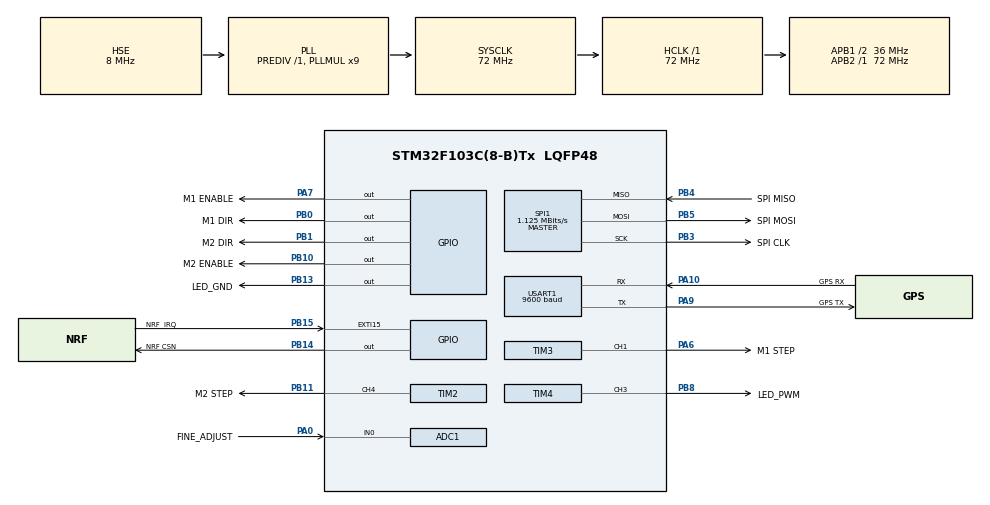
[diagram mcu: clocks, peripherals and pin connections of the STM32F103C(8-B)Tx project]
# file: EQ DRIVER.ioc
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ADC1.Channel-5\#ChannelRegularConversion=ADC_CHANNEL_0
ADC1.NbrOfConversionFlag=1
ADC1.Rank-5\#ChannelRegularConversion=1
ADC1.SamplingTime-5\#ChannelRegularConversion=ADC_SAMPLETIME_1CYCLE_5
ADC1.master=1
Mcu.Family=STM32F1
Mcu.Name=STM32F103C(8-B)Tx
Mcu.Package=LQFP48
NVIC.EXTI15_10_IRQn=true\:0\:0\:false\:false\:true\:true\:true\:true
NVIC.PriorityGroup=NVIC_PRIORITYGROUP_4
NVIC.RCC_IRQn=true\:0\:0\:false\:false\:true\:true\:false\:true
NVIC.TIM1_UP_IRQn=true\:0\:0\:false\:false\:true\:false\:true\:true
NVIC.TIM2_IRQn=true\:0\:0\:false\:false\:true\:true\:true\:true
NVIC.TIM3_IRQn=true\:0\:0\:false\:false\:true\:true\:true\:true
NVIC.TimeBase=TIM1_UP_IRQn
NVIC.TimeBaseIP=TIM1
NVIC.USART1_IRQn=true\:0\:0\:false\:false\:true\:true\:true\:true
PA0-WKUP.GPIO_Label=FINE_ADJUST
PA0-WKUP.Signal=ADCx_IN0
PA10.GPIO_Label=GPS RX
PA10.Mode=Asynchronous
PA10.Signal=USART1_RX
PA13.GPIO_Label=SWDIO
PA13.Mode=Serial_Wire
PA13.Signal=SYS_JTMS-SWDIO
PA14.GPIO_Label=SWCLK
PA14.Mode=Serial_Wire
PA14.Signal=SYS_JTCK-SWCLK
PA6.GPIO_Label=M1 STEP
PA6.Signal=S_TIM3_CH1
PA7.GPIO_Label=M1 ENABLE
PA7.GPIO_PuPd=GPIO_NOPULL
PA7.Signal=GPIO_Output
PA9.GPIO_Label=GPS TX
PA9.Mode=Asynchronous
PA9.Signal=USART1_TX
PB0.GPIO_Label=M1 DIR
PB0.Signal=GPIO_Output
PB1.GPIO_Label=M2 DIR
PB1.Signal=GPIO_Output
PB10.GPIO_Label=M2 ENABLE
PB10.Signal=GPIO_Output
PB11.GPIO_Label=M2 STEP
PB11.Signal=S_TIM2_CH4
PB13.GPIO_Label=LED_GND
PB13.GPIO_ModeDefaultOutputPP=GPIO_MODE_OUTPUT_PP
PB13.GPIO_PuPd=GPIO_PULLDOWN
PB13.Signal=GPIO_Output
PB14.GPIO_Label=NRF CSN
PB14.GPIO_PuPd=GPIO_PULLDOWN
PB14.GPIO_Speed=GPIO_SPEED_FREQ_HIGH
PB14.PinState=GPIO_PIN_SET
PB14.Signal=GPIO_Output
PB15.GPIO_Label=NRF  IRQ
PB15.Signal=GPXTI15
PB3.GPIO_Label=SPI CLK
PB3.Mode=Full_Duplex_Master
PB3.Signal=SPI1_SCK
PB4.GPIO_Label=SPI MISO
PB4.Mode=Full_Duplex_Master
PB4.Signal=SPI1_MISO
PB5.GPIO_Label=SPI MOSI
PB5.Mode=Full_Duplex_Master
PB5.Signal=SPI1_MOSI
PB8.GPIO_Label=LED_PWM
PB8.Signal=S_TIM4_CH3
PD0-OSC_IN.Mode=HSE-External-Oscillator
PD0-OSC_IN.Signal=RCC_OSC_IN
PD1-OSC_OUT.Mode=HSE-External-Oscillator
PD1-OSC_OUT.Signal=RCC_OSC_OUT
ProjectManager.HeapSize=0x200
ProjectManager.StackSize=0x400
ProjectManager.TargetToolchain=STM32CubeIDE
RCC.ADCPresc=RCC_ADCPCLK2_DIV6
RCC.AHBFreq_Value=72000000
RCC.APB1CLKDivider=RCC_HCLK_DIV2
RCC.APB1Freq_Value=36000000
RCC.APB1TimFreq_Value=72000000
RCC.APB2Freq_Value=72000000
RCC.APB2TimFreq_Value=72000000
RCC.HCLKFreq_Value=72000000
RCC.PLLMUL=RCC_PLL_MUL9
RCC.PLLSourceVirtual=RCC_PLLSOURCE_HSE
RCC.RTCClockSelection=RCC_RTCCLKSOURCE_HSE_DIV128
RCC.SYSCLKFreq_VALUE=72000000
RCC.SYSCLKSource=RCC_SYSCLKSOURCE_PLLCLK
RCC.USBFreq_Value=72000000
SH.ADCx_IN0.0=ADC1_IN0,IN0
SH.S_TIM2_CH4.0=TIM2_CH4,PWM Generation4 CH4
SH.S_TIM3_CH1.0=TIM3_CH1,PWM Generation1 CH1
SH.S_TIM4_CH3.0=TIM4_CH3,PWM Generation3 CH3
SPI1.BaudRatePrescaler=SPI_BAUDRATEPRESCALER_64
SPI1.CalculateBaudRate=1.125 MBits/s
SPI1.Direction=SPI_DIRECTION_2LINES
SPI1.FirstBit=SPI_FIRSTBIT_MSB
SPI1.Mode=SPI_MODE_MASTER
SPI1.VirtualType=VM_MASTER
TIM2.Channel-PWM\ Generation4\ CH4=TIM_CHANNEL_4
TIM2.Period=28125 - 1
TIM2.Prescaler=360 - 1
TIM3.Channel-PWM\ Generation1\ CH1=TIM_CHANNEL_1
TIM3.Period=28125 -1
TIM3.Prescaler=360 - 1
TIM4.Channel-PWM\ Generation3\ CH3=TIM_CHANNEL_3
TIM4.Period=4000 - 1
TIM4.Prescaler=36000 - 1
USART1.BaudRate=9600
USART1.VirtualMode=VM_ASYNC
VP_SYS_VS_tim1.Mode=TIM1
VP_TIM2_VS_ClockSourceINT.Mode=Internal
board=custom

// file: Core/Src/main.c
/* USER CODE BEGIN Header */
/**
 ******************************************************************************
 * @file           : main.c
 * @brief          : Main program body
 ******************************************************************************
 * @attention
 *
 * Copyright (c) 2022 STMicroelectronics.
 * All rights reserved.
 *
 * This software is licensed under terms that can be found in the LICENSE file
 * in the root directory of this software component.
 * If no LICENSE file comes with this software, it is provided AS-IS.
 *
 ******************************************************************************
 */
/* USER CODE END Header */
#include "main.h"
#include "adc.h"
#include "spi.h"
#include "tim.h"
#include "usart.h"
#include "gpio.h"

/* USER CODE BEGIN Includes */

#include "variables.h"
#include "steppers.h"
#include "astro_conv.h"
#include "astro_targets.h"
#include "PA6H.h"

/* USER CODE END Includes */

/* USER CODE BEGIN PM */

#define TICKS_NOW HAL_GetTick() /** < Current sys tick value */
#define POSITIVE_MODULUS(value, mod) (((value) < 0) ? ((mod) -1) : ((value) % (mod)))

/* USER CODE END PM */

/* USER CODE BEGIN PV */

/**
 * @brief menu options enum
 */
enum menu_options {
	DEC_ = 0,
	RA,
	hemisphere,
	automatic_mode,
	manual_mode,
	MENU_SIZE, //must be the last value
};

/**
 * @brief Strings to the menu
 */
const char* menu_str[MENU_SIZE] = {
		[DEC_]           = "DEC",
		[RA]             = "R.A",
		[hemisphere]     = "Hemisferio",
		[automatic_mode] = "Modo automatico",
		[manual_mode]    = "Modo manual",
};

uint16_t menu_op_value[MENU_SIZE] = {0};

GNSS_data_t* GNSS;

/* USER CODE END PV */

void SystemClock_Config(void);

/* USER CODE BEGIN 0 */
void HAL_UART_RxCpltCallback(UART_HandleTypeDef* huart) {
	if (huart == &huart1) {
		if (GNSS_UART_CallBack(GNSS)) {
			astro_update_LMST();
		}
	}
}
/* USER CODE END 0 */

int main(void) {

	/* MCU Configuration--------------------------------------------------------*/

	/* Reset of all peripherals, Initializes the Flash interface and the Systick. */
	HAL_Init();

	/* Configure the system clock */
	SystemClock_Config();

	/* USER CODE BEGIN SysInit */
	GNSS = astro_get_gnss_pointer();
	/* USER CODE END SysInit */

	/* Initialize all configured peripherals */
	MX_GPIO_Init();
	MX_TIM2_Init();
	MX_ADC1_Init();
	MX_TIM3_Init();
	MX_USART1_UART_Init();
	MX_SPI1_Init();
	MX_TIM4_Init();
	/* USER CODE BEGIN 2 */

	HAL_Delay(500);
	GNSS_init();
	astro_init();

	led_start_blink();
	led_set_slow_fast_blink();

	bool flag = true;

	astro_release();

	/* USER CODE END 2 */

	/* Infinite loop */
	while (1) {

		/* USER CODE BEGIN 3 */

		astro_update_raw_fine_adjusts();

		if (flag) {
			astro_go_home();
		}

		while (astro_get_gnss_pointer()->is_valid != VALID_DATA) {
		}

		if (flag) {
			astro_update_target(astro_target[JUPITER]);
			astro_goto_target();
			flag = false;
		}

	}
	/* USER CODE END 3 */
}

void SystemClock_Config(void) {
	RCC_OscInitTypeDef RCC_OscInitStruct = {0};
	RCC_ClkInitTypeDef RCC_ClkInitStruct = {0};
	RCC_PeriphCLKInitTypeDef PeriphClkInit = {0};

	/** Initializes the RCC Oscillators according to the specified parameters
	* in the RCC_OscInitTypeDef structure.
	*/
	RCC_OscInitStruct.OscillatorType = RCC_OSCILLATORTYPE_HSE;
	RCC_OscInitStruct.HSEState = RCC_HSE_ON;
	RCC_OscInitStruct.HSEPredivValue = RCC_HSE_PREDIV_DIV1;
	RCC_OscInitStruct.HSIState = RCC_HSI_ON;
	RCC_OscInitStruct.PLL.PLLState = RCC_PLL_ON;
	RCC_OscInitStruct.PLL.PLLSource = RCC_PLLSOURCE_HSE;
	RCC_OscInitStruct.PLL.PLLMUL = RCC_PLL_MUL9;
	if (HAL_RCC_OscConfig(&RCC_OscInitStruct) != HAL_OK) {
		Error_Handler();
	}

	/** Initializes the CPU, AHB and APB buses clocks
	*/
	RCC_ClkInitStruct.ClockType = RCC_CLOCKTYPE_HCLK | RCC_CLOCKTYPE_SYSCLK
								  | RCC_CLOCKTYPE_PCLK1 | RCC_CLOCKTYPE_PCLK2;
	RCC_ClkInitStruct.SYSCLKSource = RCC_SYSCLKSOURCE_PLLCLK;
	RCC_ClkInitStruct.AHBCLKDivider = RCC_SYSCLK_DIV1;
	RCC_ClkInitStruct.APB1CLKDivider = RCC_HCLK_DIV2;
	RCC_ClkInitStruct.APB2CLKDivider = RCC_HCLK_DIV1;

	if (HAL_RCC_ClockConfig(&RCC_ClkInitStruct, FLASH_LATENCY_2) != HAL_OK) {
		Error_Handler();
	}
	PeriphClkInit.PeriphClockSelection = RCC_PERIPHCLK_ADC;
	PeriphClkInit.AdcClockSelection = RCC_ADCPCLK2_DIV6;
	if (HAL_RCCEx_PeriphCLKConfig(&PeriphClkInit) != HAL_OK) {
		Error_Handler();
	}
}

void HAL_TIM_PeriodElapsedCallback(TIM_HandleTypeDef* htim) {
	if (htim->Instance == TIM1) {
		HAL_IncTick();
	}
}

void Error_Handler(void) {
	/* USER CODE BEGIN Error_Handler_Debug */
	/* User can add his own implementation to report the HAL error return state */
	__disable_irq();
	while (1);
	/* USER CODE END Error_Handler_Debug */
}

#ifdef  USE_FULL_ASSERT
/**
  * @brief  Reports the name of the source file and the source line number
  *         where the assert_param error has occurred.
  * @param  file: pointer to the source file name
  * @param  line: assert_param error line source number
  * @retval None
  */
void assert_failed(uint8_t *file, uint32_t line)
{
  /* USER CODE BEGIN 6 */
  /* User can add his own implementation to report the file name and line
	 number, ex: printf("Wrong parameters value: file %s on line %d\r\n", file,
	 line) */
  /* USER CODE END 6 */
}
#endif /* USE_FULL_ASSERT */
